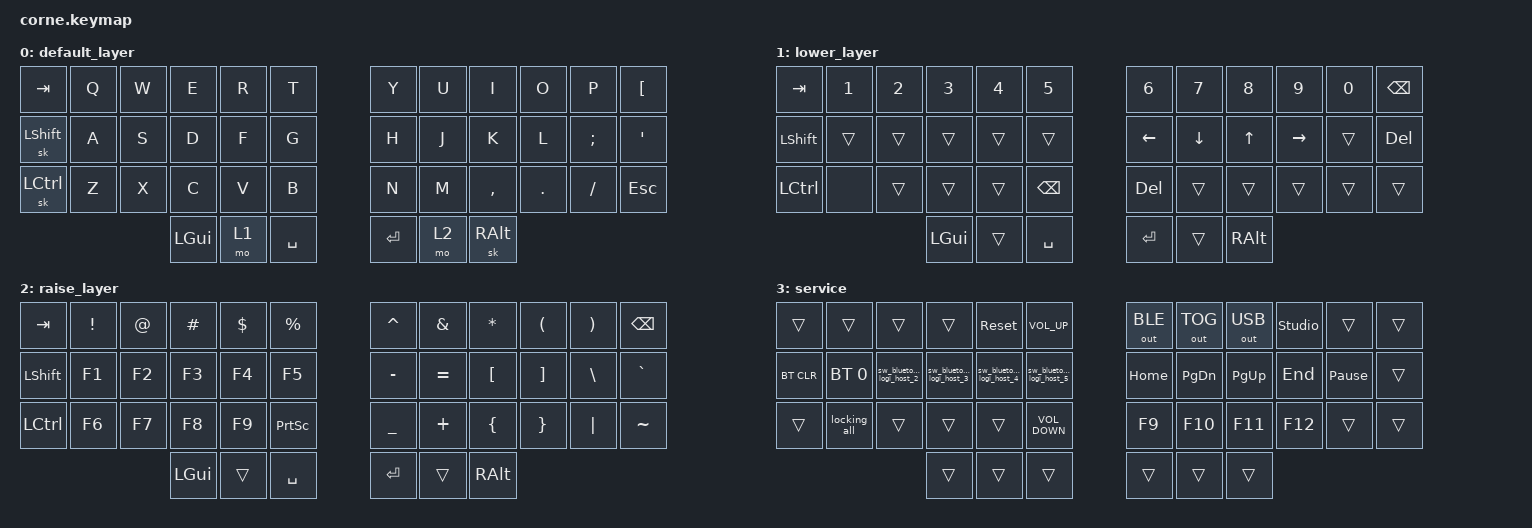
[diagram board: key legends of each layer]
/*
 * Copyright (c) 2020 The ZMK Contributors
 *
 * SPDX-License-Identifier: MIT
 */

#include <behaviors.dtsi>
#include <dt-bindings/zmk/bt.h>
#include <dt-bindings/zmk/keys.h>
#include <dt-bindings/zmk/outputs.h>

&kscan0 {
    debounce-press-ms = <7>;
    debounce-release-ms = <7>;
};

/ {
    combos {
        compatible = "zmk,combos";

        combo_esc {
            timeout-ms = <20>;
            key-positions = <18 19>;
            bindings = <&kp ESC>;
        };

        CapsLock {
            bindings = <&kp CAPSLOCK>;
            key-positions = <16 17>;
            timeout-ms = <20>;
        };
    };

    behaviors {
        ss_hs_modmorph: ss_hs_modmorph {
            compatible = "zmk,behavior-mod-morph";
            label = "SS_HS_MODMORPH";
            bindings = <&kp M>, <&kp RIGHT_BRACKET>;

            #binding-cells = <0>;
            mods = <(MOD_LSFT|MOD_RSFT)>;
        };

        kh_hs_tapdance: kh_hs_tapdance {
            compatible = "zmk,behavior-tap-dance";
            label = "KH_HS_TAPDANCE";
            #binding-cells = <0>;
            tapping-term-ms = <200>;
            bindings = <&kp LEFT_BRACKET>, <&kp RIGHT_BRACKET>;
        };

        hrm: hrm {
            compatible = "zmk,behavior-hold-tap";
            #binding-cells = <2>;
            flavor = "tap-preferred";
            tapping-term-ms = <200>;
            quick-tap-ms = <200>;
            require-prior-idle-ms = <125>;
            bindings = <&kp>, <&kp>;
        };
    };

    macros {
        locking_all: locking_all {
            compatible = "zmk,behavior-macro";
            #binding-cells = <0>;
            bindings = <&bt BT_SEL 1 &kt LEFT_WIN &kp Z &kt LEFT_WIN &bt BT_SEL 2 &kt LEFT_WIN &kp Z &kt LEFT_WIN>;
            label = "LOCKING_ALL";
        };

        sw_bluetooth_logi_host_2: switch_bluetooth_and_logi_host {
            compatible = "zmk,behavior-macro";
            #binding-cells = <0>;
            bindings = <&kt LEFT_ALT &kt LEFT_GUI &kp NUMBER_2 &kt LGUI &kt LALT &bt BT_SEL 1>;
            label = "SWITCH_BLUETOOTH_AND_LOGI_HOST";
        };

        sw_bluetooth_logi_host_3: sw_bluetooth_logi_host_3 {
            compatible = "zmk,behavior-macro";
            #binding-cells = <0>;
            bindings = <&kt LEFT_ALT &kt LEFT_GUI &kp NUMBER_3 &kt LGUI &kt LALT &bt BT_SEL 2>;
            label = "SW_BLUETOOTH_LOGI_HOST_3";
        };

        sw_bluetooth_logi_host_4: sw_bluetooth_logi_host_4 {
            compatible = "zmk,behavior-macro";
            #binding-cells = <0>;
            bindings = <&kt LEFT_ALT &kt LEFT_GUI &kp NUMBER_4 &kt LGUI &kt LALT &bt BT_SEL 3>;
            label = "SW_BLUETOOTH_LOGI_HOST_4";
        };

        sw_bluetooth_logi_host_5: sw_bluetooth_logi_host_5 {
            compatible = "zmk,behavior-macro";
            #binding-cells = <0>;
            bindings = <&kt LEFT_ALT &kt LEFT_GUI &kp NUMBER_5 &kt LGUI &kt LALT &bt BT_SEL 4>;
            label = "SW_BLUETOOTH_LOGI_HOST_5";
        };
    };

    keymap {
        compatible = "zmk,keymap";

        default_layer {
            // -----------------------------------------------------------------------------------------
            // |  TAB |  Q  |  W  |  E  |  R  |  T  |   |  Y  |  U   |  I  |  O  |  P  | BKSP |
            // | CTRL |  A  |  S  |  D  |  F  |  G  |   |  H  |  J   |  K  |  L  |  ;  |  '   |
            // | SHFT |  Z  |  X  |  C  |  V  |  B  |   |  N  |  M   |  ,  |  .  |  /  | ESC  |
            //                    | GUI | LWR | SPC |   | ENT | RSE  | ALT |

            bindings = <
&kp TAB         &kp Q  &kp W  &kp E     &kp R  &kp T        &kp Y    &kp U  &kp I      &kp O    &kp P          &kp LEFT_BRACKET
&sk LEFT_SHIFT  &kp A  &kp S  &kp D     &kp F  &kp G        &kp H    &kp J  &kp K      &kp L    &kp SEMICOLON  &kp SQT
&sk LCTRL       &kp Z  &kp X  &kp C     &kp V  &kp B        &kp N    &kp M  &kp COMMA  &kp DOT  &kp FSLH       &kp ESC
                              &kp LGUI  &mo 1  &kp SPACE    &kp RET  &mo 2  &sk RALT
            >;
        };

        lower_layer {
            // -----------------------------------------------------------------------------------------
            // |  TAB |  1  |  2  |  3  |  4  |  5  |   |  6  |  7  |  8  |  9  |  0  | BKSP |
            // | BTCLR| BT1 | BT2 | BT3 | BT4 | BT5 |   | LFT | DWN |  UP | RGT |     |      |
            // | SHFT |     |     |     |     |     |   |     |     |     |     |     |      |
            //                    | GUI |     | SPC |   | ENT |     | ALT |

            bindings = <
&kp TAB         &kp N1  &kp N2  &kp N3    &kp N4  &kp N5           &kp N6    &kp N7    &kp N8    &kp N9     &kp N0  &kp BSPC
&kp LEFT_SHIFT  &trans  &trans  &trans    &trans  &trans           &kp LEFT  &kp DOWN  &kp UP    &kp RIGHT  &trans  &kp DEL
&kp LCTRL       &none   &trans  &trans    &trans  &kp BACKSPACE    &kp DEL   &trans    &trans    &trans     &trans  &trans
                                &kp LGUI  &trans  &kp SPACE        &kp RET   &trans    &kp RALT
            >;
        };

        raise_layer {
            // -----------------------------------------------------------------------------------------
            // |  TAB |  !  |  @  |  #  |  $  |  %  |   |  ^  |  &  |  *  |  (  |  )  | BKSP |
            // | CTRL |     |     |     |     |     |   |  -  |  =  |  [  |  ]  |  \  |  `   |
            // | SHFT |     |     |     |     |     |   |  _  |  +  |  {  |  }  | "|" |  ~   |
            //                    | GUI |     | SPC |   | ENT |     | ALT |

            bindings = <
&kp TAB         &kp EXCL  &kp AT  &kp HASH  &kp DLLR  &kp PRCNT          &kp CARET  &kp AMPS   &kp ASTRK  &kp LPAR  &kp RPAR  &kp BSPC
&kp LEFT_SHIFT  &kp F1    &kp F2  &kp F3    &kp F4    &kp F5             &kp MINUS  &kp EQUAL  &kp LBKT   &kp RBKT  &kp BSLH  &kp GRAVE
&kp LCTRL       &kp F6    &kp F7  &kp F8    &kp F9    &kp PRINTSCREEN    &kp UNDER  &kp PLUS   &kp LBRC   &kp RBRC  &kp PIPE  &kp TILDE
                                  &kp LGUI  &trans    &kp SPACE          &kp RET    &trans     &kp RALT
            >;
        };

        service {
            bindings = <
&trans      &trans        &trans                     &trans                     &sys_reset                 &kp C_VOLUME_UP              &out OUT_BLE  &out OUT_TOG   &out OUT_USB  &studio_unlock  &trans           &trans
&bt BT_CLR  &bt BT_SEL 0  &sw_bluetooth_logi_host_2  &sw_bluetooth_logi_host_3  &sw_bluetooth_logi_host_4  &sw_bluetooth_logi_host_5    &kp HOME      &kp PAGE_DOWN  &kp PAGE_UP   &kp END         &kp PAUSE_BREAK  &trans
&trans      &locking_all  &trans                     &trans                     &trans                     &kp C_VOLUME_DOWN            &kp F9        &kp F10        &kp F11       &kp F12         &trans           &trans
                                                     &trans                     &trans                     &trans                       &trans        &trans         &trans
            >;
        };
    };

    conditional_layers {
        compatible = "zmk,conditional-layers";

        service_layer {
            if-layers = <1 2>;
            then-layer = <3>;
        };
    };
};
